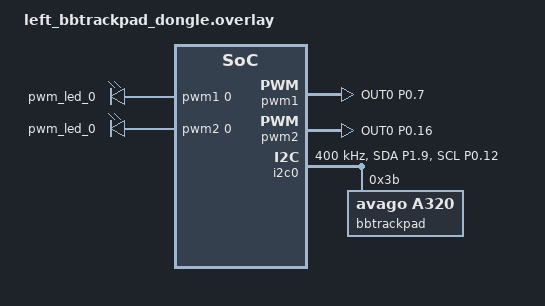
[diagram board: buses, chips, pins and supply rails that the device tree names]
/*
*
* Copyright (c) 2025 ZitaoTech
* SPDX-License-Identifier: MIT
*
*/

/ {
    chosen {
        zmk,trackpad_led = &trackpad_led;
        zmk,custom_led=&custom_led;
    };
    trackpad_led: pwmledo{
        compatible = "pwm-leds";
        pwm_led_0 {
            pwms = <&pwm1 0 PWM_USEC(20) PWM_POLARITY_NORMAL>;
        };
    };
    
    custom_led: pwmledto{
        compatible = "pwm-leds";
        pwm_led_0 {
            pwms = <&pwm2 0 PWM_USEC(20) PWM_POLARITY_NORMAL>;
        };
    };
};

&pwm1 {
    status = "okay";
    pinctrl-0 = <&pwm1_default>;
    pinctrl-1 = <&pwm1_sleep>;
    pinctrl-names = "default", "sleep";
};

&pwm2 {
    status = "okay";
    pinctrl-0 = <&pwm2_default>;
    pinctrl-1 = <&pwm2_sleep>;
    pinctrl-names = "default", "sleep";
};


&i2c0 {
    status = "okay";
    compatible = "nordic,nrf-twim";
    clock-frequency = <I2C_BITRATE_FAST>; 
    pinctrl-0 = <&i2c0_default>;
    pinctrl-1 = <&i2c0_sleep>;
    pinctrl-names = "default", "sleep";

    bbtrackpad:a320@3B {
        compatible = "avago,a320";
        reg = <0x3B>;
        status = "okay";
    };
    
};

/ {
    split_inputs {
        #address-cells = <1>;
        #size-cells = <0>;

        bbtrackpad_split: bbtrackpad_split@0 {
            compatible = "zmk,input-split";
            reg = <0>;
        };

    };

    /* Listeners */
    bbtrackpad_listener: bbtrackpad_listener {
        compatible = "zmk,input-listener";
        status = "disabled";
        device = <&bbtrackpad_split>;
    };

};


&bbtrackpad_split {
    device = <&bbtrackpad>;
};



&pinctrl {
    pwm1_default:pwm1_default{
        group1{
            psels = <NRF_PSEL(PWM_OUT0, 0, 7)>; // Backlight for Trackball
        };
    };

    pwm1_sleep: pwm1_sleep {
        group1 {
            psels = <NRF_PSEL(PWM_OUT0, 0, 7)>;
            bias-pull-down;
        };
    };

    pwm2_default:pwm2_default{
        group1{
            psels = <NRF_PSEL(PWM_OUT0, 0, 16)>; // GPIO for custom led
        };
    };

    pwm2_sleep: pwm2_sleep {
        group1 {
            psels = <NRF_PSEL(PWM_OUT0, 0, 16)>;
            bias-pull-down;
        };
    };

    i2c0_default: i2c0_default {
        group1 {
            psels = <NRF_PSEL(TWIM_SDA, 1, 9)>,
                <NRF_PSEL(TWIM_SCL, 0, 12)>;
        };
    };

    i2c0_sleep: i2c0_sleep {
        group1 {
            psels = <NRF_PSEL(TWIM_SDA, 1, 9)>,
                <NRF_PSEL(TWIM_SCL, 0, 12)>;
            low-power-enable;
        };
    };
};


